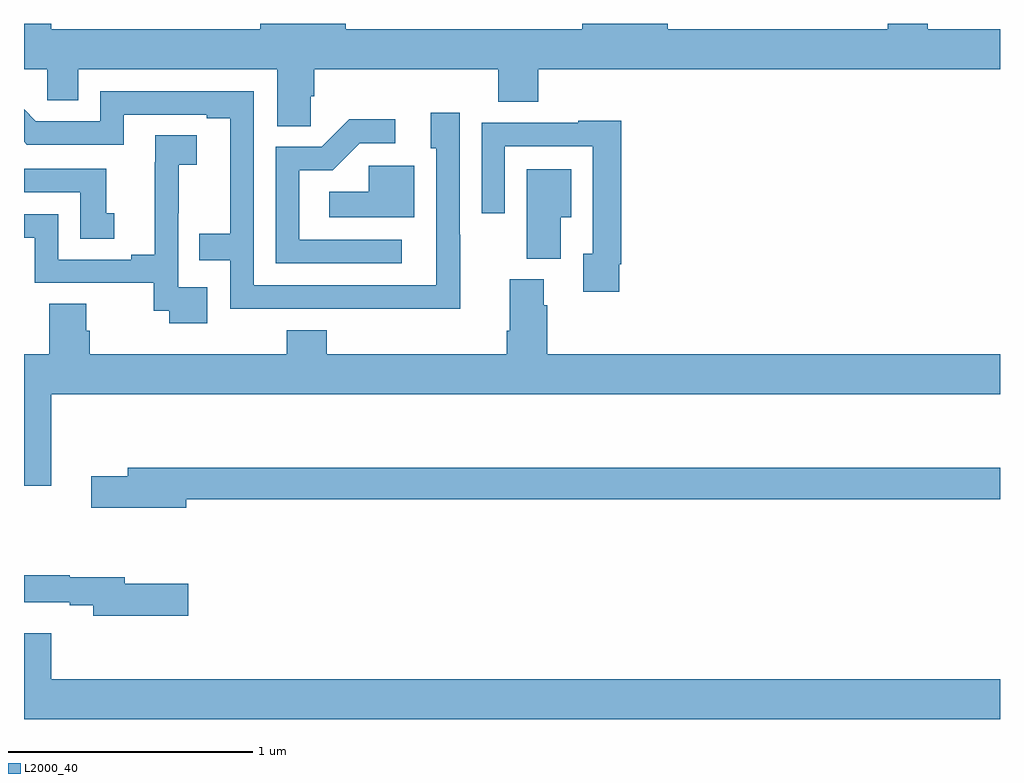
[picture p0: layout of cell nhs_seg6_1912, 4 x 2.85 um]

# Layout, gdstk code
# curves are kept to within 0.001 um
import gdstk
lib = gdstk.Library(unit=1e-6, precision=1e-09)
def P(c, l, *ps):  # polygons
    for p in ps: c.add(gdstk.Polygon(p, *l))
L2000_40 = (2000, 40)

nhs_seg6_1912 = lib.new_cell('nhs_seg6_1912')
P(nhs_seg6_1912, L2000_40, [(226.176,971.203),(226.19,971.203),(226.19,971.312),(226.943,971.312),(226.943,971.179),(227.108,971.179),(227.108,971.312),(229,971.312),(229,971.476),(228.704,971.476),(228.704,971.5),(228.539,971.5),(228.539,971.476),(227.638,971.476),(227.638,971.5),(227.288,971.5),(227.288,971.476),(226.318,971.476),(226.318,971.5),(225.968,971.5),(225.968,971.476),(225.112,971.476),(225.112,971.5),(225,971.5),(225,971.312),(225.096,971.312),(225.096,971.185),(225.223,971.185),(225.223,971.312),(226.037,971.312),(226.037,971.08),(226.176,971.08)],
  [(226.787,970.634),(226.785,970.634),(226.785,971.134),(226.667,971.134),(226.667,970.989),(226.689,970.989),(226.689,970.428),(225.942,970.428),(225.942,971.223),(225.312,971.223),(225.312,971.1),(225.048,971.1),(225,971.148),(225,971.016),(225.012,971.004),(225.408,971.004),(225.408,971.127),(225.749,971.127),(225.749,971.112),(225.845,971.112),(225.845,970.639),(225.718,970.639),(225.718,970.53),(225.846,970.53),(225.846,970.332),(226.787,970.331)],
  [(226.549,970.614),(226.128,970.614),(226.128,970.899),(226.266,970.899),(226.377,971.01),(226.522,971.01),(226.522,971.108),(226.334,971.108),(226.221,970.995),(226.032,970.995),(226.032,970.518),(226.549,970.518)],
  [(227.44,970.513),(227.447,970.513),(227.447,971.101),(227.271,971.101),(227.271,971.094),(226.875,971.094),(226.875,970.722),(226.971,970.722),(226.971,970.998),(227.331,970.998),(227.331,970.557),(227.291,970.557),(227.291,970.401),(227.44,970.401)],
  [(225.751,970.419),(225.633,970.419),(225.633,970.723),(225.635,970.723),(225.635,970.921),(225.709,970.921),(225.709,971.042),(225.538,971.042),(225.538,970.931),(225.536,970.931),(225.536,970.553),(225.44,970.553),(225.44,970.533),(225.141,970.533),(225.141,970.719),(225,970.719),(225,970.623),(225.045,970.623),(225.045,970.437),(225.532,970.437),(225.532,970.323),(225.595,970.323),(225.595,970.272),(225.751,970.272)],
  [(226.6,970.917),(226.413,970.917),(226.413,970.81),(226.251,970.81),(226.251,970.706),(226.6,970.706)],
  [(225.37,970.722),(225.337,970.722),(225.337,970.905),(225,970.905),(225,970.809),(225.23,970.809),(225.23,970.618),(225.37,970.618)],
  [(227.2,970.706),(227.242,970.706),(227.242,970.903),(227.06,970.903),(227.06,970.537),(227.2,970.537)],
  [(225.112,969.98),(229,969.98),(229,970.144),(227.144,970.144),(227.144,970.346),(227.131,970.346),(227.131,970.452),(226.991,970.452),(226.991,970.24),(226.979,970.24),(226.979,970.144),(226.241,970.144),(226.241,970.243),(226.076,970.243),(226.076,970.144),(225.269,970.144),(225.269,970.242),(225.256,970.242),(225.256,970.352),(225.104,970.352),(225.104,970.144),(225,970.144),(225,969.606),(225.112,969.606)],
  [(225.664,969.55),(229,969.55),(229,969.679),(225.425,969.679),(225.425,969.645),(225.276,969.645),(225.276,969.515),(225.664,969.515)],
  [(225.673,969.204),(225.412,969.204),(225.412,969.23),(225.188,969.23),(225.188,969.238),(225,969.238),(225,969.129),(225.188,969.129),(225.188,969.117),(225.284,969.117),(225.284,969.074),(225.673,969.074)],
  [(229,968.812),(225.112,968.812),(225.112,969.001),(225,969.001),(225,968.648),(229,968.648)])

lib.write_gds('nhs_seg6_1912.gds')
